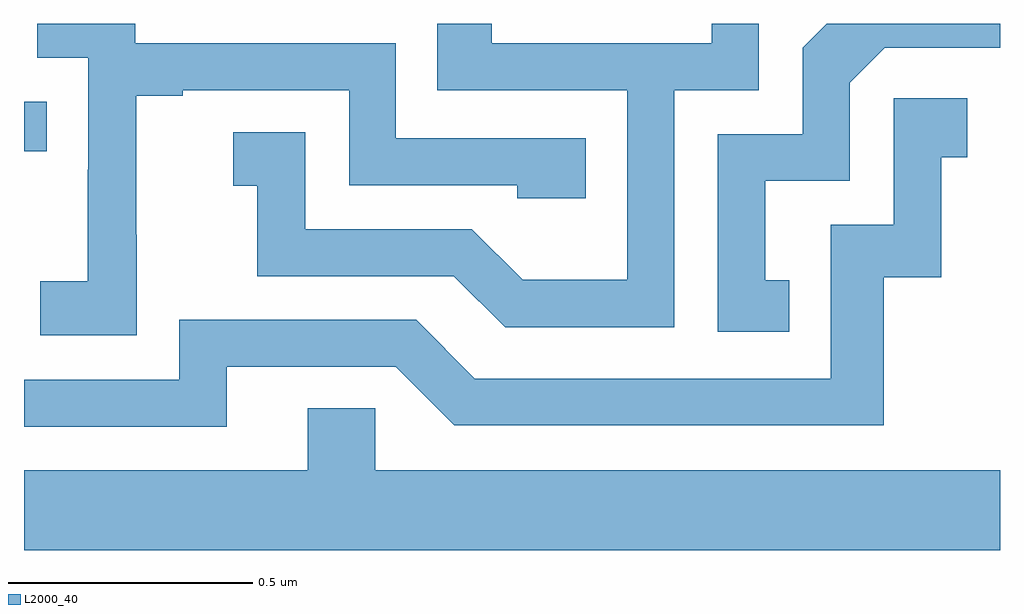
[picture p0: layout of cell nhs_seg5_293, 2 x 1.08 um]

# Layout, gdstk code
import gdstk
lib = gdstk.Library(unit=1e-6, precision=1e-09)
def R(c, l, rs):  # rectangles x0, y0, x1, y1
    for r in rs: c.add(gdstk.rectangle(r[:2], r[2:], *l))
def P(c, l, *ps):  # polygons
    for p in ps: c.add(gdstk.Polygon(p, *l))
L2000_40 = (2000, 40)

nhs_seg5_293 = lib.new_cell('nhs_seg5_293')
R(nhs_seg5_293, L2000_40, [(114,897.538,114.047,897.639)])
P(nhs_seg5_293, L2000_40, [(115.332,897.663),(115.506,897.663),(115.506,897.799),(115.409,897.799),(115.409,897.759),(114.958,897.759),(114.958,897.799),(114.847,897.799),(114.847,897.663),(115.236,897.663),(115.236,897.274),(115.022,897.274),(114.918,897.378),(114.576,897.378),(114.576,897.577),(114.429,897.577),(114.429,897.467),(114.478,897.467),(114.478,897.282),(114.881,897.282),(114.986,897.177),(115.332,897.177)],
  [(114.231,897.367),(114.23,897.367),(114.23,897.651),(114.325,897.651),(114.325,897.663),(114.666,897.663),(114.666,897.468),(115.011,897.468),(115.011,897.441),(115.151,897.441),(115.151,897.564),(114.762,897.564),(114.762,897.759),(114.228,897.759),(114.228,897.799),(114.027,897.799),(114.027,897.729),(114.132,897.729),(114.132,897.5),(114.131,897.5),(114.131,897.271),(114.033,897.271),(114.033,897.161),(114.231,897.161)],
  [(115.568,897.273),(115.519,897.273),(115.519,897.477),(115.692,897.477),(115.692,897.678),(115.764,897.75),(116,897.75),(116,897.799),(115.645,897.799),(115.596,897.75),(115.596,897.573),(115.422,897.573),(115.422,897.168),(115.568,897.168)],
  [(114.415,897.096),(114.762,897.096),(114.882,896.976),(115.762,896.976),(115.762,897.279),(115.88,897.279),(115.88,897.525),(115.933,897.525),(115.933,897.646),(115.782,897.646),(115.782,897.387),(115.653,897.387),(115.653,897.072),(114.924,897.072),(114.804,897.192),(114.318,897.192),(114.318,897.069),(114,897.069),(114,896.973),(114.415,896.973)],
  [(116,896.884),(114.72,896.884),(114.72,897.011),(114.581,897.011),(114.581,896.884),(114,896.884),(114,896.72),(116,896.72)])

lib.write_gds('nhs_seg5_293.gds')
